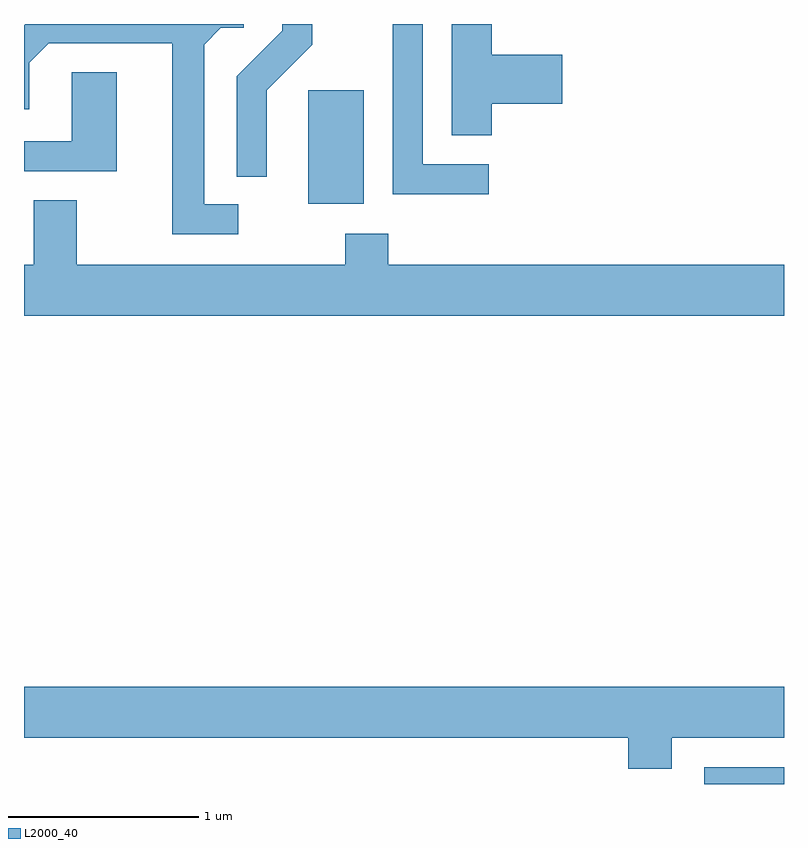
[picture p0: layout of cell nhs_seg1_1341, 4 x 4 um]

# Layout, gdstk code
import gdstk
lib = gdstk.Library(unit=1e-6, precision=1e-09)
def R(c, l, rs):  # rectangles x0, y0, x1, y1
    for r in rs: c.add(gdstk.rectangle(r[:2], r[2:], *l))
def P(c, l, *ps):  # polygons
    for p in ps: c.add(gdstk.Polygon(p, *l))
L2000_40 = (2000, 40)

nhs_seg1_1341 = lib.new_cell('nhs_seg1_1341')
R(nhs_seg1_1341, L2000_40, [(229.191,963.712,229.611,963.799), (227.106,966.766,227.399,967.364)])
P(nhs_seg1_1341, L2000_40, [(226.738,966.764),(226.559,966.764),(226.559,967.604),(226.647,967.691),(226.768,967.691),(226.768,967.712),(225.617,967.712),(225.611,967.706),(225.611,967.263),(225.639,967.263),(225.639,967.509),(225.742,967.611),(226.391,967.611),(226.391,966.606),(226.738,966.606)],
  [(226.889,967.364),(227.129,967.604),(227.129,967.712),(226.971,967.712),(226.971,967.677),(226.731,967.437),(226.731,966.908),(226.889,966.908)],
  [(228.058,966.974),(227.709,966.974),(227.709,967.712),(227.551,967.712),(227.551,966.816),(228.058,966.816)],
  [(228.074,967.291),(228.444,967.291),(228.444,967.549),(228.074,967.549),(228.074,967.712),(227.861,967.712),(227.861,967.126),(228.074,967.126)],
  [(226.099,967.459),(225.861,967.459),(225.861,967.094),(225.611,967.094),(225.611,966.936),(226.099,966.936)],
  [(229.611,966.444),(227.529,966.444),(227.529,966.609),(227.301,966.609),(227.301,966.444),(225.889,966.444),(225.889,966.784),(225.661,966.784),(225.661,966.444),(225.611,966.444),(225.611,966.176),(229.611,966.176)],
  [(229.019,963.956),(229.611,963.956),(229.611,964.224),(225.611,964.224),(225.611,963.956),(228.791,963.956),(228.791,963.791),(229.019,963.791)])

lib.write_gds('nhs_seg1_1341.gds')
